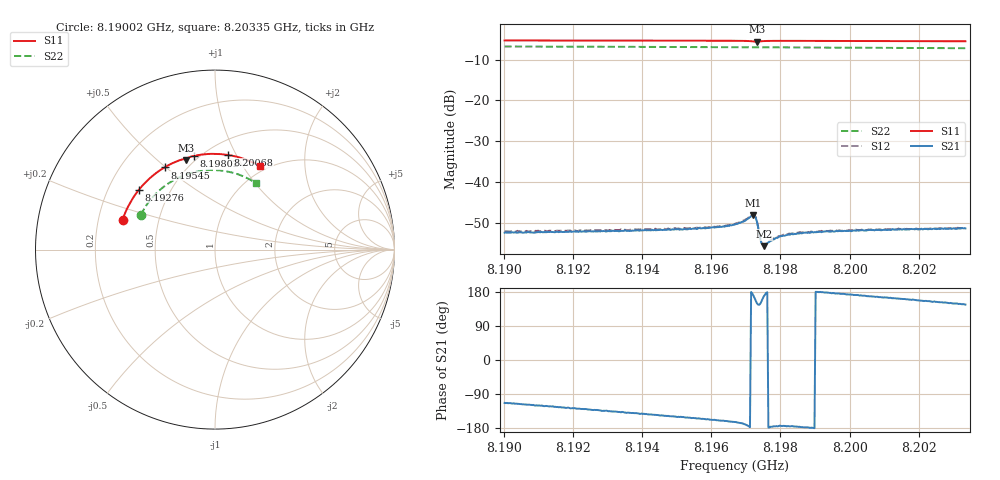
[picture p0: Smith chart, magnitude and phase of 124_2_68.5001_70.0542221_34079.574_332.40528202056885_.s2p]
#  HZ  S  RI  R  50.00
! Rohde & Schwarz Vector Network Analyzer
! Rohde-Schwarz,ZNB20-2Port,1311601062101988,3.16
! Created: UTC 3/20/2024, 5:09:14 PM
! freq[Hz]  re:S11  im:S11  re:S21  im:S21  re:S12  im:S12  re:S22  im:S22
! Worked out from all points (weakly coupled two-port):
!   401 points, 8.19002 GHz to 8.20335 GHz, reference 50 ohm
!   highest |S21| = -48.11 dB at 8.19722 GHz (marker M1); lowest = -55.7 dB at 8.19752 GHz (marker M2)
!   lowest |S11| = -5.6 dB at 8.19732 GHz (marker M3), VSWR 3.19, Z = 22.8 + j31.2 ohm
!   |S11| at or under -10 dB: nowhere
!   |S22| runs from -7.2 to -6.8 dB; largest |S21 - S12| = 0.0002
!   S11 on the Smith chart (normalised r, x): 8.19002 GHz: 0.30, +0.14; 8.19276 GHz: 0.33, +0.31; 8.19545 GHz: 0.38, +0.49; 8.19802 GHz: 0.47, +0.69; 8.20068 GHz: 0.63, +0.93; 8.20335 GHz: 0.92, +1.19
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8.190023e9  -0.5148 0.1658  -0.000947 -0.00221  -0.00101 -0.00226  -0.4134 0.1929
8.192255e9  -0.4449 0.3055  -0.00157 -0.00192  -0.00167 -0.00192  -0.3441 0.2957
8.192755e9  -0.4239 0.3337  -0.00171 -0.00183  -0.00181 -0.00184  -0.3249 0.3157
8.194487e9  -0.3375 0.4192  -0.00214 -0.00145  -0.00223 -0.00142  -0.2488 0.3757
8.195453e9  -0.2813 0.4579  -0.00239 -0.00122  -0.00251 -0.00114  -0.2015 0.4016
8.196153e9  -0.2373 0.4815  -0.00262 -0.000999  -0.00268 -0.00094  -0.1652 0.4165
8.196686e9  -0.2016 0.4965  -0.0029 -0.00084  -0.00299 -0.000747  -0.1366 0.4257
8.196886e9  -0.1871 0.501  -0.00317 -0.000731  -0.00325 -0.000575  -0.1256 0.4287
8.197152e9  -0.1655 0.5033  -0.00383 4.04e-05  -0.00389 0.000202  -0.1111 0.4322
8.197219e9  -0.1605 0.501  -0.00387 0.000687  -0.0039 0.000851  -0.1074 0.433
8.197286e9  -0.159 0.4977  -0.00336 0.00146  -0.00336 0.00162  -0.1037 0.4336
8.197319e9  -0.1599 0.4972  -0.00284 0.00165  -0.00283 0.00178  -0.1019 0.4338
8.197419e9  -0.1601 0.5028  -0.00172 0.00104  -0.00171 0.00113  -0.0966 0.4352
8.197452e9  -0.1586 0.5052  -0.00162 0.000757  -0.0016 0.000831  -0.0947 0.4355
8.197519e9  -0.1541 0.509  -0.00161 0.000344  -0.00165 0.000407  -0.091 0.4363
8.197819e9  -0.1317 0.5182  -0.00199 -0.000177  -0.00206 -8.84e-05  -0.0743 0.4391
8.198019e9  -0.1172 0.5219  -0.00217 -0.000226  -0.0022 -0.000143  -0.0629 0.4404
8.198518e9  -0.0816 0.5284  -0.00234 -0.000143  -0.0024 -2.76e-05  -0.0346 0.4427
8.198918e9  -0.0531 0.5315  -0.00245 -5.9e-05  -0.00245 5.35e-05  -0.0121 0.4432
8.200684e9  0.0716 0.5276  -0.00253 0.00056  -0.00249 0.000683  0.0876 0.4312
8.20115e9  0.1041 0.5216  -0.00252 0.00073  -0.00249 0.000838  0.1133 0.4242
8.203349e9  0.2489 0.4665  -0.00225 0.0015  -0.00224 0.00159  0.2271 0.3705
